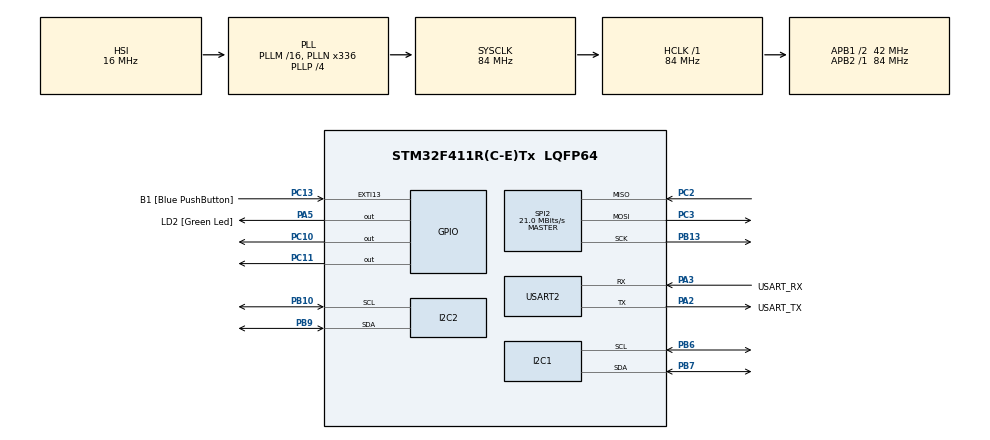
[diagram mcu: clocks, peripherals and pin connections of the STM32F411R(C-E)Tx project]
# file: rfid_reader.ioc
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I2C1.OwnAddress=8
Mcu.Family=STM32F4
Mcu.Name=STM32F411R(C-E)Tx
Mcu.Package=LQFP64
NVIC.PriorityGroup=NVIC_PRIORITYGROUP_0
PA13.GPIO_Label=TMS
PA13.Mode=Serial_Wire
PA13.Signal=SYS_JTMS-SWDIO
PA14.GPIO_Label=TCK
PA14.Mode=Serial_Wire
PA14.Signal=SYS_JTCK-SWCLK
PA2.GPIO_Label=USART_TX
PA2.Mode=Asynchronous
PA2.Signal=USART2_TX
PA3.GPIO_Label=USART_RX
PA3.Mode=Asynchronous
PA3.Signal=USART2_RX
PA5.GPIO_Label=LD2 [Green Led]
PA5.Signal=GPIO_Output
PB10.Mode=I2C
PB10.Signal=I2C2_SCL
PB13.Mode=Full_Duplex_Master
PB13.Signal=SPI2_SCK
PB3.GPIO_Label=SWO
PB3.Signal=SYS_JTDO-SWO
PB6.Mode=I2C
PB6.Signal=I2C1_SCL
PB7.Mode=I2C
PB7.Signal=I2C1_SDA
PB9.Mode=I2C
PB9.Signal=I2C2_SDA
PC10.Signal=GPIO_Output
PC11.Signal=GPIO_Output
PC13-ANTI_TAMP.GPIO_Label=B1 [Blue PushButton]
PC13-ANTI_TAMP.GPIO_ModeDefaultEXTI=GPIO_MODE_IT_FALLING
PC13-ANTI_TAMP.Signal=GPXTI13
PC14-OSC32_IN.Mode=LSE-External-Oscillator
PC14-OSC32_IN.Signal=RCC_OSC32_IN
PC15-OSC32_OUT.Mode=LSE-External-Oscillator
PC15-OSC32_OUT.Signal=RCC_OSC32_OUT
PC2.Mode=Full_Duplex_Master
PC2.Signal=SPI2_MISO
PC3.Mode=Full_Duplex_Master
PC3.Signal=SPI2_MOSI
PH0\ -\ OSC_IN.Mode=HSE-External-Clock-Source
PH0\ -\ OSC_IN.Signal=RCC_OSC_IN
PH1\ -\ OSC_OUT.Mode=HSE-External-Clock-Source
PH1\ -\ OSC_OUT.Signal=RCC_OSC_OUT
ProjectManager.HeapSize=0x200
ProjectManager.StackSize=0x400
ProjectManager.TargetToolchain=STM32CubeIDE
RCC.48MHZClocksFreq_Value=84000000
RCC.AHBFreq_Value=84000000
RCC.APB1CLKDivider=RCC_HCLK_DIV2
RCC.APB1Freq_Value=42000000
RCC.APB1TimFreq_Value=84000000
RCC.APB2Freq_Value=84000000
RCC.APB2TimFreq_Value=84000000
RCC.CortexFreq_Value=84000000
RCC.FLatency-AdvancedSettings=FLASH_LATENCY_2
RCC.HCLKFreq_Value=84000000
RCC.HSE_VALUE=8000000
RCC.HSI_VALUE=16000000
RCC.PLLN=336
RCC.PLLP=RCC_PLLP_DIV4
RCC.SYSCLKFreq_VALUE=84000000
RCC.SYSCLKSource=RCC_SYSCLKSOURCE_PLLCLK
RCC.VCOOutputFreq_Value=336000000
SPI2.CalculateBaudRate=21.0 MBits/s
SPI2.Direction=SPI_DIRECTION_2LINES
SPI2.Mode=SPI_MODE_MASTER
SPI2.VirtualType=VM_MASTER
USART2.VirtualMode=VM_ASYNC
board=NUCLEO-F411RE

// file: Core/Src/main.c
/* USER CODE BEGIN Header */
/**
 ******************************************************************************
 * @file           : main.c
 * @brief          : Main program body
 ******************************************************************************
 * @attention
 *
 * Copyright (c) 2022 STMicroelectronics.
 * All rights reserved.
 *
 * This software is licensed under terms that can be found in the LICENSE file
 * in the root directory of this software component.
 * If no LICENSE file comes with this software, it is provided AS-IS.
 *
 ******************************************************************************
 */
/* USER CODE END Header */
#include "main.h"

/* USER CODE BEGIN Includes */
#include "MFRC522.h"
#include "string.h"
#include "lcd1602.h"
/* USER CODE END Includes */

I2C_HandleTypeDef hi2c1;
I2C_HandleTypeDef hi2c2;

SPI_HandleTypeDef hspi2;

UART_HandleTypeDef huart2;

void SystemClock_Config(void);
static void MX_GPIO_Init(void);
static void MX_USART2_UART_Init(void);
static void MX_SPI2_Init(void);
static void MX_I2C1_Init(void);
static void MX_I2C2_Init(void);

/* USER CODE BEGIN 0 */
uint8_t value = 0;
/* USER CODE END 0 */

int main(void) {

	/* MCU Configuration--------------------------------------------------------*/

	/* Reset of all peripherals, Initializes the Flash interface and the Systick. */
	HAL_Init();

	/* Configure the system clock */
	SystemClock_Config();

	/* Initialize all configured peripherals */
	MX_GPIO_Init();
	MX_USART2_UART_Init();
	MX_SPI2_Init();
	MX_I2C1_Init();
	MX_I2C2_Init();
	/* USER CODE BEGIN 2 */

	HAL_GPIO_WritePin(RC522_Rst_GPIO_Port, RC522_Rst_Pin, GPIO_PIN_SET);

	HAL_Delay(100);

	MFRC522_Init();
	HAL_Delay(100);
	int32_t count = 0;
	int status;
	int card[MAX_LEN + 1], previousCard[MAX_LEN + 1];
	for (int i = 0; i < MAX_LEN + 1; ++i) {
		card[i] = 0;
		previousCard[i] = 0;
	}
	char debugBuffer[10000];
	char i2cBuffer[11];

	status = 0;
	status = Read_MFRC522(VersionReg);
	sprintf(debugBuffer, "Starting RC552 Version: %x\r\n", status);
	HAL_UART_Transmit(&huart2, debugBuffer, strlen(debugBuffer), 100);
	LCD_Init(LCD_ADDR);
	LCD_WriteLine(LCD_ADDR, 0, "Tap Card to");
	LCD_WriteLine(LCD_ADDR, 1, "Check in/out");
	/* USER CODE END 2 */

	/* Infinite loop */
	/* USER CODE BEGIN WHILE */
	while (1) {

		status = MFRC522_Request(PICC_REQIDL, card);
		if (status == MI_OK) {
			status = MFRC522_Anticoll(card);
			if (status == MI_OK && strcmp(card, previousCard)) {
				LCD_Clear(LCD_ADDR);
				sprintf(debugBuffer, "---\r\nRead successfully!\r\n");
				LCD_WriteLine(LCD_ADDR, 0, "Read Card UID:");
				HAL_UART_Transmit(&huart2, debugBuffer, strlen(debugBuffer),
						100);
				sprintf(debugBuffer, "UID: %x %x\r\n---\r\n", card[0], card[1]);

				sprintf(i2cBuffer, "%x%x", card[0], card[1]);
				LCD_WriteLine(LCD_ADDR, 1, i2cBuffer);

				HAL_I2C_Slave_Transmit(&hi2c1, i2cBuffer, strlen(i2cBuffer),
				HAL_MAX_DELAY);
				HAL_UART_Transmit(&huart2, debugBuffer, strlen(debugBuffer),
						100);
				char lengthBuffer[4];
				lengthBuffer[3] = '\0';
				char studentInfoBuffer[200];
				HAL_I2C_Slave_Receive(&hi2c1, lengthBuffer, 3, HAL_MAX_DELAY);
				HAL_I2C_Slave_Receive(&hi2c1, studentInfoBuffer,
						atoi(lengthBuffer), HAL_MAX_DELAY);

				studentInfoBuffer[atoi(lengthBuffer)] = '\0';
				LCD_Clear(LCD_ADDR);
				if (studentInfoBuffer[0] == '0') {
					// http response code < 0 => Request Error
					LCD_WriteLine(LCD_ADDR, 0, "Request Error");
				} else if (studentInfoBuffer[0] == '1') {
					// Check in and check out
					HAL_UART_Transmit(&huart2, studentInfoBuffer, strlen(studentInfoBuffer), 100);
					if (studentInfoBuffer[1] == '1' ) {
						LCD_WriteLine(LCD_ADDR, 0, "User Checked In:");
						LCD_WriteLine(LCD_ADDR, 1, studentInfoBuffer + 2);
					} else if (studentInfoBuffer[1] == '0') {
						LCD_WriteLine(LCD_ADDR, 0, "User Checked Out:");
						LCD_WriteLine(LCD_ADDR, 1, studentInfoBuffer + 2);
					} else if (studentInfoBuffer[1] == '2') {
						LCD_WriteLine(LCD_ADDR, 0, "Room Full");
						LCD_WriteLine(LCD_ADDR, 1, studentInfoBuffer + 2);
					} else {
						LCD_WriteLine(LCD_ADDR, 0, "Status Error:");
						LCD_WriteLine(LCD_ADDR, 1, studentInfoBuffer);
					}
				} else if (studentInfoBuffer[0] == '2') {
					// User not in Database
					LCD_WriteLine(LCD_ADDR, 0, "User not in db");
				} else {
					LCD_WriteLine(LCD_ADDR, 0, "Invalid Message");
				}
				HAL_Delay(3000);
				LCD_Clear(LCD_ADDR);
				LCD_WriteLine(LCD_ADDR, 0, "Tap Card to");
				LCD_WriteLine(LCD_ADDR, 1, "Check in/out");

				strcpy(previousCard, card);
				for (int i = 0; i < MAX_LEN + 1; ++i) {
					previousCard[i] = 0;
				}
				sprintf(debugBuffer, "\r\nDone\r\n");
				HAL_UART_Transmit(&huart2, debugBuffer, strlen(debugBuffer),
						100);
			}
		}

		/* USER CODE END WHILE */

	}
}

void SystemClock_Config(void) {
	RCC_OscInitTypeDef RCC_OscInitStruct = { 0 };
	RCC_ClkInitTypeDef RCC_ClkInitStruct = { 0 };

	/** Configure the main internal regulator output voltage
	 */
	__HAL_RCC_PWR_CLK_ENABLE();
	__HAL_PWR_VOLTAGESCALING_CONFIG(PWR_REGULATOR_VOLTAGE_SCALE1);

	/** Initializes the RCC Oscillators according to the specified parameters
	 * in the RCC_OscInitTypeDef structure.
	 */
	RCC_OscInitStruct.OscillatorType = RCC_OSCILLATORTYPE_HSI;
	RCC_OscInitStruct.HSIState = RCC_HSI_ON;
	RCC_OscInitStruct.HSICalibrationValue = RCC_HSICALIBRATION_DEFAULT;
	RCC_OscInitStruct.PLL.PLLState = RCC_PLL_ON;
	RCC_OscInitStruct.PLL.PLLSource = RCC_PLLSOURCE_HSI;
	RCC_OscInitStruct.PLL.PLLM = 16;
	RCC_OscInitStruct.PLL.PLLN = 336;
	RCC_OscInitStruct.PLL.PLLP = RCC_PLLP_DIV4;
	RCC_OscInitStruct.PLL.PLLQ = 4;
	if (HAL_RCC_OscConfig(&RCC_OscInitStruct) != HAL_OK) {
		Error_Handler();
	}

	/** Initializes the CPU, AHB and APB buses clocks
	 */
	RCC_ClkInitStruct.ClockType = RCC_CLOCKTYPE_HCLK | RCC_CLOCKTYPE_SYSCLK
			| RCC_CLOCKTYPE_PCLK1 | RCC_CLOCKTYPE_PCLK2;
	RCC_ClkInitStruct.SYSCLKSource = RCC_SYSCLKSOURCE_PLLCLK;
	RCC_ClkInitStruct.AHBCLKDivider = RCC_SYSCLK_DIV1;
	RCC_ClkInitStruct.APB1CLKDivider = RCC_HCLK_DIV2;
	RCC_ClkInitStruct.APB2CLKDivider = RCC_HCLK_DIV1;

	if (HAL_RCC_ClockConfig(&RCC_ClkInitStruct, FLASH_LATENCY_2) != HAL_OK) {
		Error_Handler();
	}
}

static void MX_I2C1_Init(void) {

	hi2c1.Instance = I2C1;
	hi2c1.Init.ClockSpeed = 100000;
	hi2c1.Init.DutyCycle = I2C_DUTYCYCLE_2;
	hi2c1.Init.OwnAddress1 = 16;
	hi2c1.Init.AddressingMode = I2C_ADDRESSINGMODE_7BIT;
	hi2c1.Init.DualAddressMode = I2C_DUALADDRESS_DISABLE;
	hi2c1.Init.OwnAddress2 = 0;
	hi2c1.Init.GeneralCallMode = I2C_GENERALCALL_DISABLE;
	hi2c1.Init.NoStretchMode = I2C_NOSTRETCH_DISABLE;
	if (HAL_I2C_Init(&hi2c1) != HAL_OK) {
		Error_Handler();
	}

}

static void MX_I2C2_Init(void) {

	hi2c2.Instance = I2C2;
	hi2c2.Init.ClockSpeed = 100000;
	hi2c2.Init.DutyCycle = I2C_DUTYCYCLE_2;
	hi2c2.Init.OwnAddress1 = 0;
	hi2c2.Init.AddressingMode = I2C_ADDRESSINGMODE_7BIT;
	hi2c2.Init.DualAddressMode = I2C_DUALADDRESS_DISABLE;
	hi2c2.Init.OwnAddress2 = 0;
	hi2c2.Init.GeneralCallMode = I2C_GENERALCALL_DISABLE;
	hi2c2.Init.NoStretchMode = I2C_NOSTRETCH_DISABLE;
	if (HAL_I2C_Init(&hi2c2) != HAL_OK) {
		Error_Handler();
	}

}

static void MX_SPI2_Init(void) {

	/* SPI2 parameter configuration*/
	hspi2.Instance = SPI2;
	hspi2.Init.Mode = SPI_MODE_MASTER;
	hspi2.Init.Direction = SPI_DIRECTION_2LINES;
	hspi2.Init.DataSize = SPI_DATASIZE_8BIT;
	hspi2.Init.CLKPolarity = SPI_POLARITY_LOW;
	hspi2.Init.CLKPhase = SPI_PHASE_1EDGE;
	hspi2.Init.NSS = SPI_NSS_SOFT;
	hspi2.Init.BaudRatePrescaler = SPI_BAUDRATEPRESCALER_2;
	hspi2.Init.FirstBit = SPI_FIRSTBIT_MSB;
	hspi2.Init.TIMode = SPI_TIMODE_DISABLE;
	hspi2.Init.CRCCalculation = SPI_CRCCALCULATION_DISABLE;
	hspi2.Init.CRCPolynomial = 10;
	if (HAL_SPI_Init(&hspi2) != HAL_OK) {
		Error_Handler();
	}

}

static void MX_USART2_UART_Init(void) {

	huart2.Instance = USART2;
	huart2.Init.BaudRate = 115200;
	huart2.Init.WordLength = UART_WORDLENGTH_8B;
	huart2.Init.StopBits = UART_STOPBITS_1;
	huart2.Init.Parity = UART_PARITY_NONE;
	huart2.Init.Mode = UART_MODE_TX_RX;
	huart2.Init.HwFlowCtl = UART_HWCONTROL_NONE;
	huart2.Init.OverSampling = UART_OVERSAMPLING_16;
	if (HAL_UART_Init(&huart2) != HAL_OK) {
		Error_Handler();
	}

}

static void MX_GPIO_Init(void) {
	GPIO_InitTypeDef GPIO_InitStruct = { 0 };

	/* GPIO Ports Clock Enable */
	__HAL_RCC_GPIOC_CLK_ENABLE();
	__HAL_RCC_GPIOH_CLK_ENABLE();
	__HAL_RCC_GPIOA_CLK_ENABLE();
	__HAL_RCC_GPIOB_CLK_ENABLE();

	/*Configure GPIO pin Output Level */
	HAL_GPIO_WritePin(LD2_GPIO_Port, LD2_Pin, GPIO_PIN_RESET);

	/*Configure GPIO pin Output Level */
	HAL_GPIO_WritePin(GPIOC, GPIO_PIN_10 | GPIO_PIN_11, GPIO_PIN_RESET);

	/*Configure GPIO pin : B1_Pin */
	GPIO_InitStruct.Pin = B1_Pin;
	GPIO_InitStruct.Mode = GPIO_MODE_IT_FALLING;
	GPIO_InitStruct.Pull = GPIO_NOPULL;
	HAL_GPIO_Init(B1_GPIO_Port, &GPIO_InitStruct);

	/*Configure GPIO pin : LD2_Pin */
	GPIO_InitStruct.Pin = LD2_Pin;
	GPIO_InitStruct.Mode = GPIO_MODE_OUTPUT_PP;
	GPIO_InitStruct.Pull = GPIO_NOPULL;
	GPIO_InitStruct.Speed = GPIO_SPEED_FREQ_LOW;
	HAL_GPIO_Init(LD2_GPIO_Port, &GPIO_InitStruct);

	/*Configure GPIO pins : PC10 PC11 */
	GPIO_InitStruct.Pin = GPIO_PIN_10 | GPIO_PIN_11;
	GPIO_InitStruct.Mode = GPIO_MODE_OUTPUT_PP;
	GPIO_InitStruct.Pull = GPIO_NOPULL;
	GPIO_InitStruct.Speed = GPIO_SPEED_FREQ_LOW;
	HAL_GPIO_Init(GPIOC, &GPIO_InitStruct);

}

void Error_Handler(void) {
	__disable_irq();
	while (1) {
	}
}
